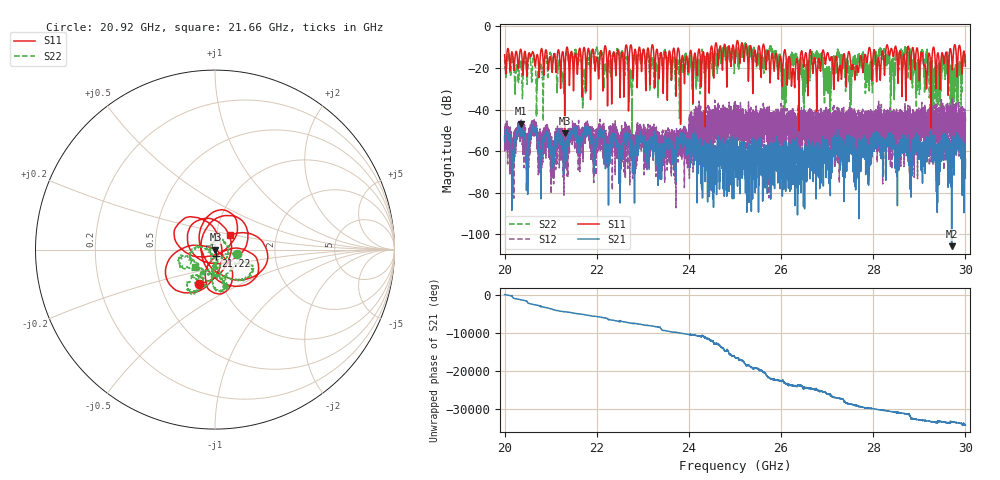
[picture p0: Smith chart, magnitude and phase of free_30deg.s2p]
#  HZ  S  RI  R  50.00
! Rohde & Schwarz ZVA40 4Ports - Version 3.90 - 1145.1110k42 SN: 100403
! Date: 2023-09-06 07:06:26
! Measurements: S11 S21 S12 S22
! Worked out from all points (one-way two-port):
!   8001 points, 20 GHz to 30 GHz, reference 50 ohm
!   highest |S21| = -46.72 dB at 20.35 GHz (marker M1); lowest = -105.7 dB at 29.7 GHz (marker M2)
!   lowest |S11| = -51.4 dB at 21.3 GHz (marker M3), VSWR 1.01, Z = 50.3 - j0.0952 ohm
!   |S11| at or under -10 dB: start of sweep to 21.35 GHz; 23.22 GHz to 24.48 GHz (1.257 GHz wide, 5.27 % of centre); 25.64 GHz to 28.28 GHz (2.646 GHz wide, 9.81 % of centre)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
!   |S22| runs from -51.5 to -7.8 dB; largest |S21 - S12| = 0.019
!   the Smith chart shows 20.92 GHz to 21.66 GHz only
!   S11 on the Smith chart (normalised r, x): 20.92 GHz: 0.79, -0.31; 21.22 GHz: 1.01, -0.07; 21.66 GHz: 1.16, +0.19
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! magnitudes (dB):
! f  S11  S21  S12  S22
! 20 GHz  -13.7  -53.1  -54.9  -16.0
! 20.19 GHz  -17.0  -60.9  -65.0  -15.5
! 20.35 GHz  -10.9  -46.7  -46.5  -17.2
! 20.48 GHz  -22.7  -70.1  -64.0  -23.9
! 20.62 GHz  -12.5  -50.2  -48.3  -15.2
! 20.77 GHz  -16.1  -62.0  -50.9  -19.2
! 20.92 GHz  -13.6  -51.7  -57.9  -17.9
! 21.22 GHz  -28.8  -54.6  -56.5  -19.4
! 21.3 GHz  -51.4  -60.5  -59.3  -20.0
! 21.66 GHz  -18.8  -53.4  -52.7  -16.6
! 21.67 GHz  -20.8  -54.3  -50.6  -17.1
! 23.33 GHz  -15.9  -62.6  -58.7  -24.8
! 25 GHz  -17.5  -69.3  -44.9  -14.0
! 25.79 GHz  -14.9  -59.9  -47.3  -10.6
! 26.06 GHz  -12.7  -63.3  -53.3  -28.5
! 26.67 GHz  -16.0  -58.5  -40.8  -15.3
! 27.03 GHz  -14.1  -65.0  -51.1  -32.0
! 27.25 GHz  -25.4  -55.2  -47.7  -15.3
! 28.33 GHz  -12.1  -55.1  -42.6  -13.1
! 29.7 GHz  -15.0  -105.7  -41.7  -23.6
! 29.83 GHz  -17.3  -53.5  -44.3  -29.4
! 30 GHz  -19.1  -68.3  -46.6  -16.2
